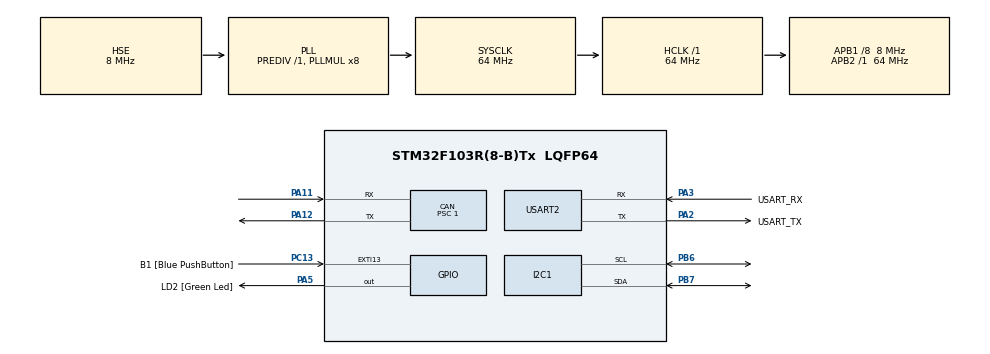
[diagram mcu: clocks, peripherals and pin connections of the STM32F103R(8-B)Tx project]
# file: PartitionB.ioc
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CAN.BS1=CAN_BS1_6TQ
CAN.CalculateBaudRate=1000000
CAN.CalculateTimeBit=1000
CAN.CalculateTimeQuantum=125.0
CAN.Prescaler=1
Mcu.Family=STM32F1
Mcu.Name=STM32F103R(8-B)Tx
Mcu.Package=LQFP64
NVIC.EXTI15_10_IRQn=true\:0\:0\:false\:false\:true\:true\:true\:true
NVIC.PriorityGroup=NVIC_PRIORITYGROUP_4
PA11.Mode=CAN_Activate
PA11.Signal=CAN_RX
PA12.Mode=CAN_Activate
PA12.Signal=CAN_TX
PA13.GPIO_Label=TMS
PA13.Mode=Serial_Wire
PA13.Signal=SYS_JTMS-SWDIO
PA14.GPIO_Label=TCK
PA14.Mode=Serial_Wire
PA14.Signal=SYS_JTCK-SWCLK
PA2.GPIO_Label=USART_TX
PA2.GPIO_Mode=GPIO_MODE_AF_PP
PA2.GPIO_PuPd=GPIO_NOPULL
PA2.GPIO_Speed=GPIO_SPEED_FREQ_LOW
PA2.Mode=Asynchronous
PA2.Signal=USART2_TX
PA3.GPIO_Label=USART_RX
PA3.GPIO_Mode=GPIO_MODE_AF_PP
PA3.GPIO_PuPd=GPIO_NOPULL
PA3.GPIO_Speed=GPIO_SPEED_FREQ_LOW
PA3.Mode=Asynchronous
PA3.Signal=USART2_RX
PA5.GPIO_Label=LD2 [Green Led]
PA5.GPIO_ModeDefaultOutputPP=GPIO_MODE_OUTPUT_PP
PA5.GPIO_PuPd=GPIO_NOPULL
PA5.GPIO_Speed=GPIO_SPEED_FREQ_LOW
PA5.Signal=GPIO_Output
PB3.GPIO_Label=SWO
PB3.Signal=SYS_JTDO-TRACESWO
PB6.Mode=I2C
PB6.Signal=I2C1_SCL
PB7.Mode=I2C
PB7.Signal=I2C1_SDA
PC13-TAMPER-RTC.GPIO_Label=B1 [Blue PushButton]
PC13-TAMPER-RTC.GPIO_PuPd=GPIO_NOPULL
PC13-TAMPER-RTC.Signal=GPXTI13
PC14-OSC32_IN.Mode=LSE-External-Oscillator
PC14-OSC32_IN.Signal=RCC_OSC32_IN
PC15-OSC32_OUT.Mode=LSE-External-Oscillator
PC15-OSC32_OUT.Signal=RCC_OSC32_OUT
PD0-OSC_IN.Mode=HSE-External-Clock-Source
PD0-OSC_IN.Signal=RCC_OSC_IN
PD1-OSC_OUT.Mode=HSE-External-Clock-Source
PD1-OSC_OUT.Signal=RCC_OSC_OUT
ProjectManager.HeapSize=0x200
ProjectManager.StackSize=0x400
ProjectManager.TargetToolchain=STM32CubeIDE
RCC.AHBFreq_Value=64000000
RCC.APB1CLKDivider=RCC_HCLK_DIV8
RCC.APB1Freq_Value=8000000
RCC.APB1TimFreq_Value=16000000
RCC.APB2Freq_Value=64000000
RCC.APB2TimFreq_Value=64000000
RCC.HCLKFreq_Value=64000000
RCC.PLLMUL=RCC_PLL_MUL8
RCC.PLLSourceVirtual=RCC_PLLSOURCE_HSE
RCC.RTCClockSelection=RCC_RTCCLKSOURCE_LSE
RCC.SYSCLKFreq_VALUE=64000000
RCC.SYSCLKSource=RCC_SYSCLKSOURCE_PLLCLK
RCC.USBFreq_Value=64000000
USART2.VirtualMode=VM_ASYNC
board=NUCLEO-F103RB

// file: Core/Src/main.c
/* USER CODE BEGIN Header */
/**
  ******************************************************************************
  * @file           : main.c
  * @brief          : Main program body
  ******************************************************************************
  */
/* USER CODE END Header */

#include "main.h"
#include "can.h"
#include "usart.h"
#include "gpio.h"
#include "i2c.h"

/* USER CODE BEGIN Includes */
#include <string.h>
/* USER CODE END Includes */

/* USER CODE BEGIN PTD */
typedef void (*pFunction)(void);

typedef enum {
  FW_UPDATE_IDLE,
  FW_UPDATE_REQUESTED,
  FW_UPDATE_IN_PROGRESS,
  FW_UPDATE_COMPLETE
} FirmwareUpdateStat_t;

typedef struct {
  CAN_RxHeaderTypeDef rxHeader;
  uint8_t rxData[8];
} CAN_Message_t;
/* USER CODE END PTD */

/* USER CODE BEGIN PD */
#define APPLICATION_A_ADDRESS 0x08008000
#define APPLICATION_B_ADDRESS 0x08014000
#define BOOT_FLAG_ADDR BKP->DR1

#define NUMBER_OF_PAGES_IN_PARTITION 48

#define BOOT_FLAG_A 0x01
#define BOOT_FLAG_B 0x02

#define CAN_ID_FILE    0x70
#define CAN_ID_SIZE    0x71
#define CAN_ID_SEND    0x7A
#define CAN_ID_CONTROL 0x7B

#define MESSAGE_BUFFER_SIZE 512

#define LCD_ADDR (0x27 << 1)
/* USER CODE END PD */

/* USER CODE BEGIN PV */
CAN_TxHeaderTypeDef TxHeader;
uint8_t TxData[8] = {0x00,};
uint8_t command[8] = {0xff, 0x00, 0xff, 0x00, 0xff, 0x00, 0xff, 0x00};
uint32_t TxMailbox;

FirmwareUpdateStat_t fwUpdateState = FW_UPDATE_IDLE;
volatile uint8_t fwUpdateRequested = 0;
volatile uint8_t fwUpdateComplete = 0;
uint32_t fwUpdateAddress = 0;
uint32_t fwUpdateSize = 0;
uint32_t fwUpdateReceivedBytes = 0;
uint8_t LD2Counter = 0;
uint8_t ledState = 0;

CAN_Message_t messageBuffer[MESSAGE_BUFFER_SIZE];
volatile uint16_t messageBufferHead = 0;
volatile uint16_t messageBufferTail = 0;

CAN_TxHeaderTypeDef txHeader;
uint8_t txData[8];
uint32_t txMailbox;
/* USER CODE END PV */

void SystemClock_Config(void);

/* USER CODE BEGIN PFP */
void SetBootFlag(void);
void NVIC_Config(void);

void FirmwareUpdateStateMachine(void);
void StartFirmwareUpdate(void);
void EraseFlashMemory(void);
void SendInactivePartitionAddress(void);
void SendUpdateState(void);

uint8_t MessageBufferIsFull(void);
uint8_t MessageBufferIsEmpty(void);
void MessageBufferPut(CAN_RxHeaderTypeDef *rxHeader, uint8_t *rxData);
void MessageBufferGet(CAN_RxHeaderTypeDef *rxHeader, uint8_t *rxData);

void SendFirmwareStartedMessage(void);
void ProcessFirmwareSizeMessage(CAN_RxHeaderTypeDef *rxHeader, uint8_t *rxData);
void LD2Flip(void);
void Error_Handler(void);

/* LCD 함수 */
void LCD_SendInternal(uint8_t data, uint8_t flags);
void LCD_SendCmd(uint8_t cmd);
void LCD_SendData(uint8_t data);
void LCD_Init(void);
void LCD_SetCursor(uint8_t row, uint8_t col);
void LCD_Print(char *str);
void LCD_Clear(void);
void LCD_PrintStatus(char *line1, char *line2);
/* USER CODE END PFP */

/* USER CODE BEGIN 0 */

void LCD_SendInternal(uint8_t data, uint8_t flags)
{
    uint8_t up = data & 0xF0;
    uint8_t lo = (data << 4) & 0xF0;

    uint8_t data_arr[4];

    data_arr[0] = up | flags | 0x0C;
    data_arr[1] = up | flags | 0x08;
    data_arr[2] = lo | flags | 0x0C;
    data_arr[3] = lo | flags | 0x08;

    HAL_I2C_Master_Transmit(&hi2c1, LCD_ADDR, data_arr, 4, HAL_MAX_DELAY);
}

void LCD_SendCmd(uint8_t cmd)
{
    LCD_SendInternal(cmd, 0x00);
}

void LCD_SendData(uint8_t data)
{
    LCD_SendInternal(data, 0x01);
}

void LCD_Init(void)
{
    HAL_Delay(50);

    LCD_SendCmd(0x30);
    HAL_Delay(5);
    LCD_SendCmd(0x30);
    HAL_Delay(1);
    LCD_SendCmd(0x30);
    HAL_Delay(10);

    LCD_SendCmd(0x20);
    HAL_Delay(10);

    LCD_SendCmd(0x28);
    HAL_Delay(1);
    LCD_SendCmd(0x08);
    HAL_Delay(1);
    LCD_SendCmd(0x01);
    HAL_Delay(2);
    LCD_SendCmd(0x06);
    HAL_Delay(1);
    LCD_SendCmd(0x0C);
}

void LCD_SetCursor(uint8_t row, uint8_t col)
{
    uint8_t address;

    switch (row)
    {
        case 0:
            address = 0x80 + col;
            break;
        case 1:
            address = 0xC0 + col;
            break;
        case 2:
            address = 0x94 + col;
            break;
        case 3:
            address = 0xD4 + col;
            break;
        default:
            address = 0x80 + col;
            break;
    }

    LCD_SendCmd(address);
}

void LCD_Print(char *str)
{
    while (*str)
    {
        LCD_SendData((uint8_t)(*str++));
    }
}

void LCD_Clear(void)
{
    LCD_SendCmd(0x01);
    HAL_Delay(2);
}

void LCD_PrintStatus(char *line1, char *line2)
{
    LCD_Clear();

    LCD_SetCursor(0, 0);
    LCD_Print("STM32F103RB OTA");

    LCD_SetCursor(1, 0);
    LCD_Print(line1);

    LCD_SetCursor(2, 0);
    LCD_Print(line2);

    LCD_SetCursor(3, 0);
    LCD_Print("CAN + I2C LCD");
}

/* USER CODE END 0 */

int main(void)
{
  HAL_Init();

  SystemClock_Config();

  /* USER CODE BEGIN SysInit */
  NVIC_Config();

  HAL_PWR_EnableBkUpAccess();
  __HAL_RCC_BKP_CLK_ENABLE();
  /* USER CODE END SysInit */

  MX_GPIO_Init();
  MX_CAN_Init();
  MX_USART2_UART_Init();
  MX_I2C1_Init();

  /* USER CODE BEGIN 2 */

  LCD_Init();
  LCD_PrintStatus("System Booting", "LCD Init OK");

  if (HAL_CAN_Start(&hcan) != HAL_OK)
  {
      LCD_PrintStatus("CAN Start Fail", "Error Handler");
      Error_Handler();
  }

  CAN_FilterTypeDef canFilterConfig;
  canFilterConfig.FilterActivation = CAN_FILTER_ENABLE;
  canFilterConfig.FilterBank = 0;
  canFilterConfig.FilterFIFOAssignment = CAN_FILTER_FIFO0;
  canFilterConfig.FilterIdHigh = 0x0000;
  canFilterConfig.FilterIdLow = 0x0000;
  canFilterConfig.FilterMaskIdHigh = 0x0000;
  canFilterConfig.FilterMaskIdLow = 0x0000;
  canFilterConfig.FilterMode = CAN_FILTERMODE_IDMASK;
  canFilterConfig.FilterScale = CAN_FILTERSCALE_32BIT;

  if (HAL_CAN_ConfigFilter(&hcan, &canFilterConfig) != HAL_OK)
  {
      LCD_PrintStatus("CAN Filter Fail", "Error Handler");
      Error_Handler();
  }

  if (HAL_CAN_ActivateNotification(&hcan, CAN_IT_RX_FIFO0_MSG_PENDING) != HAL_OK)
  {
      LCD_PrintStatus("CAN Notify Fail", "Error Handler");
      Error_Handler();
  }

  SendFirmwareStartedMessage();

  TxHeader.DLC = 8;
  TxHeader.IDE = CAN_ID_STD;
  TxHeader.RTR = CAN_RTR_DATA;
  TxHeader.StdId = 0x80;

  LCD_PrintStatus("System Ready", "Waiting Update");

  /* USER CODE END 2 */

  while (1)
  {
    if (fwUpdateState == FW_UPDATE_IDLE)
    {
        if (HAL_CAN_AddTxMessage(&hcan, &TxHeader, TxData, &TxMailbox) != HAL_OK)
        {
            LCD_PrintStatus("CAN TX Fail", "Error Handler");
            Error_Handler();
        }

        TxData[5] += 0x11;
        TxData[6] += 0x12;
        TxData[7] += 0x13;

        HAL_Delay(100);

        LD2Counter++;
        if (LD2Counter > 1000)
            LD2Flip();
    }

    FirmwareUpdateStateMachine();
  }
}

void SystemClock_Config(void)
{
  RCC_OscInitTypeDef RCC_OscInitStruct = {0};
  RCC_ClkInitTypeDef RCC_ClkInitStruct = {0};

  RCC_OscInitStruct.OscillatorType = RCC_OSCILLATORTYPE_HSE;
  RCC_OscInitStruct.HSEState = RCC_HSE_ON;
  RCC_OscInitStruct.HSEPredivValue = RCC_HSE_PREDIV_DIV1;
  RCC_OscInitStruct.HSIState = RCC_HSI_ON;
  RCC_OscInitStruct.PLL.PLLState = RCC_PLL_ON;
  RCC_OscInitStruct.PLL.PLLSource = RCC_PLLSOURCE_HSE;
  RCC_OscInitStruct.PLL.PLLMUL = RCC_PLL_MUL8;

  if (HAL_RCC_OscConfig(&RCC_OscInitStruct) != HAL_OK)
  {
    Error_Handler();
  }

  RCC_ClkInitStruct.ClockType = RCC_CLOCKTYPE_HCLK |
                                RCC_CLOCKTYPE_SYSCLK |
                                RCC_CLOCKTYPE_PCLK1 |
                                RCC_CLOCKTYPE_PCLK2;

  RCC_ClkInitStruct.SYSCLKSource = RCC_SYSCLKSOURCE_PLLCLK;
  RCC_ClkInitStruct.AHBCLKDivider = RCC_SYSCLK_DIV1;
  RCC_ClkInitStruct.APB1CLKDivider = RCC_HCLK_DIV8;
  RCC_ClkInitStruct.APB2CLKDivider = RCC_HCLK_DIV1;

  if (HAL_RCC_ClockConfig(&RCC_ClkInitStruct, FLASH_LATENCY_2) != HAL_OK)
  {
    Error_Handler();
  }

  __HAL_RCC_AFIO_CLK_ENABLE();
  __HAL_AFIO_REMAP_SWJ_NOJTAG();
}

/* USER CODE BEGIN 4 */

void LD2Flip(void)
{
    if (ledState == 0)
    {
        ledState = 1;
        HAL_GPIO_WritePin(GPIOA, LD2_Pin, GPIO_PIN_SET);
    }
    else
    {
        ledState = 0;
        HAL_GPIO_WritePin(GPIOA, LD2_Pin, GPIO_PIN_RESET);
    }

    LD2Counter = 0;
}

void SetBootFlag(void)
{
    HAL_PWR_EnableBkUpAccess();
    __HAL_RCC_BKP_CLK_ENABLE();

    uint32_t boot_flag = BOOT_FLAG_ADDR;

    if (boot_flag == BOOT_FLAG_A)
        BOOT_FLAG_ADDR = BOOT_FLAG_B;
    else
        BOOT_FLAG_ADDR = BOOT_FLAG_A;
}

void SendFirmwareStartedMessage(void)
{
    txHeader.StdId = CAN_ID_SEND;
    txHeader.RTR = CAN_RTR_DATA;
    txHeader.IDE = CAN_ID_STD;
    txHeader.DLC = 1;

    txData[0] = 0x01;

    if (HAL_CAN_AddTxMessage(&hcan, &txHeader, txData, &txMailbox) != HAL_OK)
    {
        Error_Handler();
    }

    while (HAL_CAN_IsTxMessagePending(&hcan, txMailbox))
    {
    }
}

void NVIC_Config(void)
{
    HAL_NVIC_SetPriority(USB_LP_CAN1_RX0_IRQn, 0, 0);
    HAL_NVIC_EnableIRQ(USB_LP_CAN1_RX0_IRQn);
}

void ProcessFirmwareSizeMessage(CAN_RxHeaderTypeDef *rxHeader, uint8_t *rxData)
{
    if (rxHeader->DLC == 4)
    {
        fwUpdateSize = (rxData[0] << 24) |
                       (rxData[1] << 16) |
                       (rxData[2] << 8) |
                       rxData[3];

        LCD_PrintStatus("Size Received", "Update Ready");
    }
}

void HAL_CAN_RxFifo0MsgPendingCallback(CAN_HandleTypeDef *hcan)
{
    CAN_RxHeaderTypeDef rxHeader;
    uint8_t rxData[8];

    if (HAL_CAN_GetRxMessage(hcan, CAN_RX_FIFO0, &rxHeader, rxData) != HAL_OK)
    {
        Error_Handler();
        return;
    }

    if (rxHeader.StdId == CAN_ID_CONTROL && fwUpdateRequested == 0)
    {
        if (!memcmp(command, rxData, sizeof(command)))
        {
            fwUpdateRequested = 1;
            LCD_PrintStatus("Update Request", "Command OK");
        }
    }
    else if (fwUpdateRequested == 1 && rxHeader.StdId == CAN_ID_SIZE)
    {
        ProcessFirmwareSizeMessage(&rxHeader, rxData);
    }
    else if (fwUpdateRequested == 1 && rxHeader.StdId == CAN_ID_FILE)
    {
        MessageBufferPut(&rxHeader, rxData);
    }
}

void EraseFlashMemory(void)
{
    HAL_FLASH_Unlock();

    FLASH_EraseInitTypeDef eraseInitStruct;
    uint32_t pageError = 0;

    eraseInitStruct.TypeErase = FLASH_TYPEERASE_PAGES;
    eraseInitStruct.PageAddress = fwUpdateAddress;
    eraseInitStruct.NbPages = NUMBER_OF_PAGES_IN_PARTITION;

    if (HAL_FLASHEx_Erase(&eraseInitStruct, &pageError) != HAL_OK)
    {
        HAL_FLASH_Lock();
        fwUpdateState = FW_UPDATE_IDLE;
        LCD_PrintStatus("Flash Erase Fail", "System Reset");
        NVIC_SystemReset();
    }

    HAL_FLASH_Lock();
}

void StartFirmwareUpdate(void)
{
    if (BOOT_FLAG_ADDR == BOOT_FLAG_A)
        fwUpdateAddress = APPLICATION_B_ADDRESS;
    else
        fwUpdateAddress = APPLICATION_A_ADDRESS;

    fwUpdateReceivedBytes = 0;

    LCD_PrintStatus("Update Start", "Erase Flash");

    EraseFlashMemory();

    LCD_PrintStatus("Erase Complete", "Send Address");

    SendInactivePartitionAddress();
}

void SendInactivePartitionAddress(void)
{
    txHeader.StdId = CAN_ID_SEND;
    txHeader.RTR = CAN_RTR_DATA;
    txHeader.IDE = CAN_ID_STD;
    txHeader.DLC = 4;

    uint32_t targetAddress = fwUpdateAddress;

    txData[0] = (targetAddress >> 24) & 0xFF;
    txData[1] = (targetAddress >> 16) & 0xFF;
    txData[2] = (targetAddress >> 8) & 0xFF;
    txData[3] = targetAddress & 0xFF;

    if (HAL_CAN_AddTxMessage(&hcan, &txHeader, txData, &txMailbox) != HAL_OK)
    {
        Error_Handler();
    }

    while (HAL_CAN_IsTxMessagePending(&hcan, txMailbox))
    {
    }
}

void SendUpdateState(void)
{
    txHeader.StdId = CAN_ID_SEND;
    txHeader.RTR = CAN_RTR_DATA;
    txHeader.IDE = CAN_ID_STD;
    txHeader.DLC = 1;

    if (fwUpdateComplete == 1)
        txData[0] = 0x02;
    else
        txData[0] = 0x03;

    if (HAL_CAN_AddTxMessage(&hcan, &txHeader, txData, &txMailbox) != HAL_OK)
    {
        Error_Handler();
    }

    while (HAL_CAN_IsTxMessagePending(&hcan, txMailbox))
    {
    }
}

uint8_t MessageBufferIsFull(void)
{
    return ((messageBufferHead + 1) % MESSAGE_BUFFER_SIZE) == messageBufferTail;
}

uint8_t MessageBufferIsEmpty(void)
{
    return messageBufferHead == messageBufferTail;
}

void MessageBufferPut(CAN_RxHeaderTypeDef *rxHeader, uint8_t *rxData)
{
    if (!MessageBufferIsFull())
    {
        messageBuffer[messageBufferHead].rxHeader = *rxHeader;
        memcpy(messageBuffer[messageBufferHead].rxData, rxData, 8);
        messageBufferHead = (messageBufferHead + 1) % MESSAGE_BUFFER_SIZE;
    }
}

void MessageBufferGet(CAN_RxHeaderTypeDef *rxHeader, uint8_t *rxData)
{
    if (!MessageBufferIsEmpty())
    {
        *rxHeader = messageBuffer[messageBufferTail].rxHeader;
        memcpy(rxData, messageBuffer[messageBufferTail].rxData, 8);
        messageBufferTail = (messageBufferTail + 1) % MESSAGE_BUFFER_SIZE;
    }
}

void FirmwareUpdateStateMachine(void)
{
    switch (fwUpdateState)
    {
        case FW_UPDATE_IDLE:
            if (fwUpdateRequested)
            {
                StartFirmwareUpdate();
                fwUpdateState = FW_UPDATE_IN_PROGRESS;
                LCD_PrintStatus("Update Progress", "Receiving FW");
            }
            break;

        case FW_UPDATE_IN_PROGRESS:
        {
            CAN_RxHeaderTypeDef rxHeader;
            uint32_t currentAddress = fwUpdateAddress;
            uint8_t rxData[8];

            while (fwUpdateSize > fwUpdateReceivedBytes)
            {
                if (!MessageBufferIsEmpty())
                {
                    MessageBufferGet(&rxHeader, rxData);

                    uint8_t dataLength = rxHeader.DLC;

                    HAL_FLASH_Unlock();

                    for (uint8_t i = 0; i < dataLength; i += 2)
                    {
                        uint16_t data16 = rxData[i];

                        if (i + 1 < dataLength)
                        {
                            data16 |= rxData[i + 1] << 8;
                        }

                        if (HAL_FLASH_Program(FLASH_TYPEPROGRAM_HALFWORD, currentAddress, data16) != HAL_OK)
                        {
                            HAL_FLASH_Lock();
                            fwUpdateRequested = 0;
                            fwUpdateState = FW_UPDATE_IDLE;
                            LCD_PrintStatus("Flash Write Fail", "Update Stop");
                            return;
                        }

                        currentAddress += 2;
                        fwUpdateReceivedBytes += (i + 1 < dataLength) ? 2 : 1;
                    }

                    HAL_FLASH_Lock();
                }
            }

            fwUpdateRequested = 0;

            if (fwUpdateReceivedBytes != fwUpdateSize)
            {
                fwUpdateComplete = 0;
                SendUpdateState();
                fwUpdateState = FW_UPDATE_IDLE;
                LCD_PrintStatus("Update Failed", "Size Mismatch");
            }
            else
            {
                fwUpdateComplete = 1;
                SendUpdateState();
                fwUpdateState = FW_UPDATE_COMPLETE;
                LCD_PrintStatus("Update Complete", "Reset Soon");
            }

            fwUpdateSize = 0;
            break;
        }

        case FW_UPDATE_COMPLETE:
            SetBootFlag();
            HAL_Delay(1000);
            NVIC_SystemReset();
            break;

        default:
            fwUpdateState = FW_UPDATE_IDLE;
            break;
    }
}

/* USER CODE END 4 */

void Error_Handler(void)
{
  /* USER CODE BEGIN Error_Handler_Debug */
  __disable_irq();
  HAL_GPIO_WritePin(GPIOA, LD2_Pin, GPIO_PIN_SET);

  while (1)
  {
      SetBootFlag();
      NVIC_SystemReset();
  }
  /* USER CODE END Error_Handler_Debug */
}
